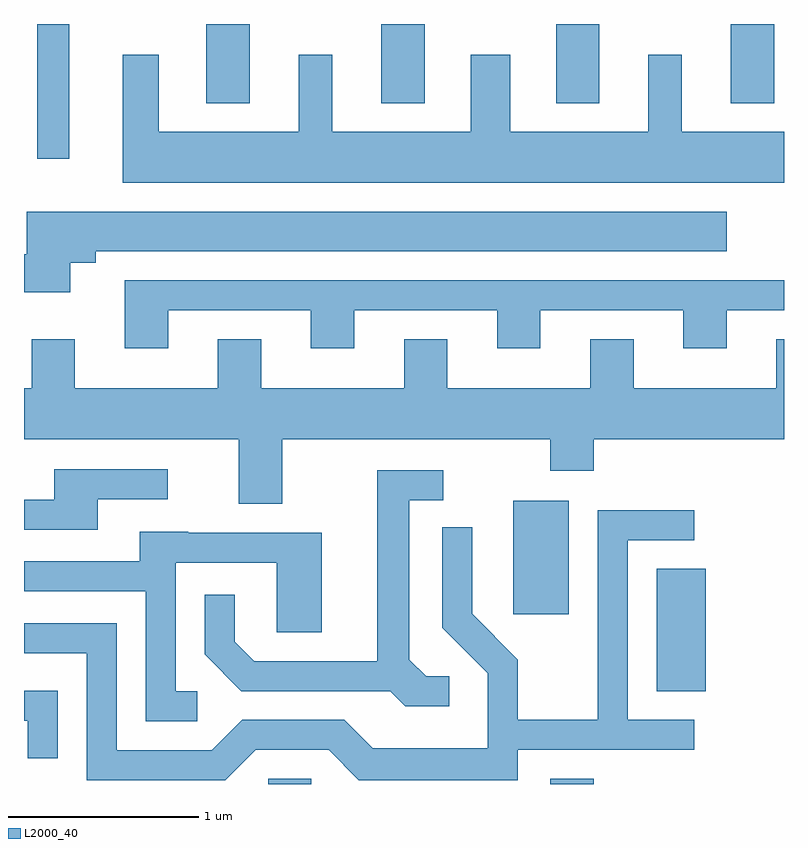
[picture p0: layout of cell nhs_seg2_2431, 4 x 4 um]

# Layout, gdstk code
import gdstk
lib = gdstk.Library(unit=1e-6, precision=1e-09)
def R(c, l, rs):  # rectangles x0, y0, x1, y1
    for r in rs: c.add(gdstk.rectangle(r[:2], r[2:], *l))
def A(c, l, x, y, w, h, nx, ny, dx, dy):  # array of equal rectangles
    R(c, l, [(x+i*dx, y+j*dy, x+i*dx+w, y+j*dy+h) for i in range(nx) for j in range(ny)])
def P(c, l, *ps):  # polygons
    for p in ps: c.add(gdstk.Polygon(p, *l))
L2000_40 = (2000, 40)

nhs_seg2_2431 = lib.new_cell('nhs_seg2_2431')
A(nhs_seg2_2431, L2000_40, 256.571, 1083.386, 0.228, 0.416, 4, 1, 0.92, 0)
R(nhs_seg2_2431, L2000_40, [(256.896,1079.802,257.124,1079.829), (258.381,1079.802,258.609,1079.829), (258.941,1080.291,259.199,1080.934), (258.186,1080.696,258.479,1081.294), (255.681,1083.093,255.849,1083.802)])
P(nhs_seg2_2431, L2000_40, [(259.611,1083.234),(259.074,1083.234),(259.074,1083.639),(258.896,1083.639),(258.896,1083.234),(258.169,1083.234),(258.169,1083.639),(257.961,1083.639),(257.961,1083.234),(257.234,1083.234),(257.234,1083.639),(257.056,1083.639),(257.056,1083.234),(256.319,1083.234),(256.319,1083.639),(256.131,1083.639),(256.131,1082.966),(259.611,1082.966)],
  [(255.854,1082.546),(255.989,1082.546),(255.989,1082.606),(259.309,1082.606),(259.309,1082.814),(255.626,1082.814),(255.626,1082.589),(255.611,1082.589),(255.611,1082.391),(255.854,1082.391)],
  [(256.369,1082.296),(257.121,1082.296),(257.121,1082.096),(257.349,1082.096),(257.349,1082.296),(258.101,1082.296),(258.101,1082.096),(258.329,1082.096),(258.329,1082.296),(259.081,1082.296),(259.081,1082.096),(259.309,1082.096),(259.309,1082.296),(259.611,1082.296),(259.611,1082.454),(256.141,1082.454),(256.141,1082.096),(256.369,1082.096)],
  [(256.969,1081.616),(258.381,1081.616),(258.381,1081.451),(258.609,1081.451),(258.609,1081.616),(259.611,1081.616),(259.611,1082.144),(259.571,1082.144),(259.571,1081.884),(258.819,1081.884),(258.819,1082.144),(258.591,1082.144),(258.591,1081.884),(257.839,1081.884),(257.839,1082.144),(257.611,1082.144),(257.611,1081.884),(256.859,1081.884),(256.859,1082.144),(256.631,1082.144),(256.631,1081.884),(255.879,1081.884),(255.879,1082.144),(255.651,1082.144),(255.651,1081.884),(255.611,1081.884),(255.611,1081.616),(256.741,1081.616),(256.741,1081.276),(256.969,1081.276)],
  [(255.999,1081.301),(256.368,1081.301),(256.368,1081.459),(255.771,1081.459),(255.771,1081.299),(255.611,1081.299),(255.611,1081.141),(255.999,1081.141)],
  [(257.848,1080.369),(257.727,1080.369),(257.639,1080.457),(257.639,1081.296),(257.818,1081.296),(257.818,1081.454),(257.471,1081.454),(257.471,1080.449),(256.822,1080.449),(256.719,1080.552),(256.719,1080.798),(256.561,1080.798),(256.561,1080.484),(256.754,1080.291),(257.539,1080.291),(257.618,1080.211),(257.848,1080.211)],
  [(256.832,1079.981),(257.214,1079.981),(257.373,1079.821),(258.209,1079.821),(258.209,1079.981),(259.138,1079.981),(259.138,1080.139),(258.789,1080.139),(258.789,1081.086),(259.138,1081.086),(259.138,1081.244),(258.631,1081.244),(258.631,1080.139),(258.209,1080.139),(258.209,1080.457),(257.969,1080.697),(257.969,1081.153),(257.811,1081.153),(257.811,1080.624),(258.051,1080.384),(258.051,1079.989),(257.447,1079.989),(257.296,1080.139),(256.759,1080.139),(256.599,1079.979),(256.099,1079.979),(256.099,1080.649),(255.611,1080.649),(255.611,1080.491),(255.941,1080.491),(255.941,1079.821),(256.671,1079.821)],
  [(256.522,1080.289),(256.409,1080.289),(256.409,1080.966),(256.941,1080.966),(256.941,1080.601),(257.179,1080.601),(257.179,1081.124),(256.475,1081.124),(256.475,1081.129),(256.221,1081.129),(256.221,1080.974),(255.611,1080.974),(255.611,1080.816),(256.251,1080.816),(256.251,1080.131),(256.522,1080.131)],
  [(255.789,1080.294),(255.611,1080.294),(255.611,1080.136),(255.631,1080.136),(255.631,1079.938),(255.789,1079.938)])

lib.write_gds('nhs_seg2_2431.gds')
